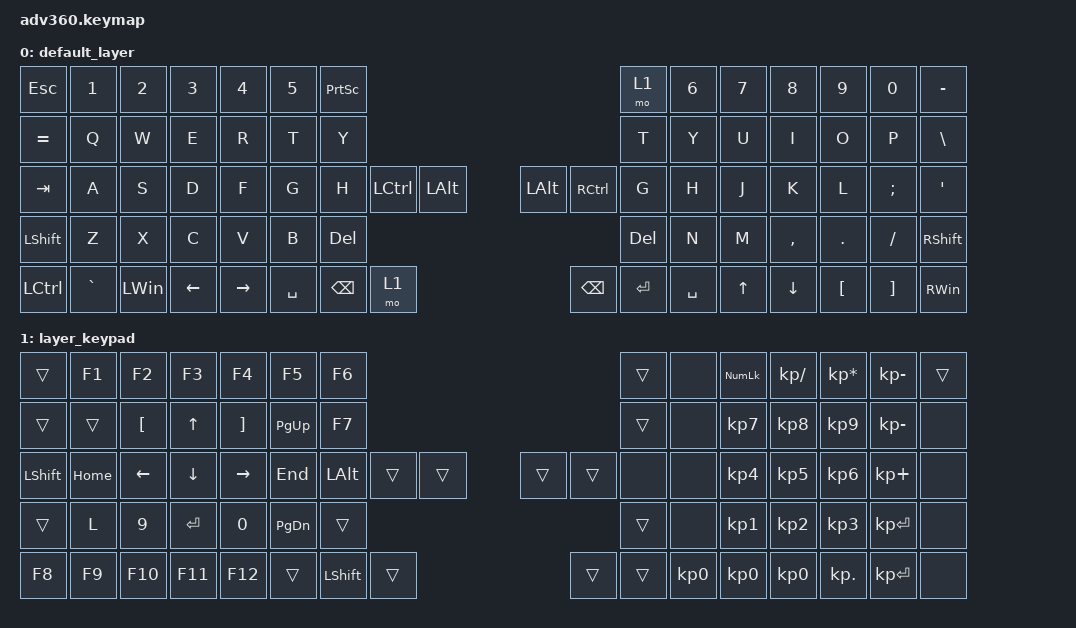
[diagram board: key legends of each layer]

/*
 * Copyright (c) 2020 The ZMK Contributors
 *
 * SPDX-License-Identifier: MIT
 */


/* THIS FILE WAS GENERATED!
 *
 * This file was generated automatically. You may or may not want to
 * edit it directly.
 */

#include <behaviors.dtsi>
#include <dt-bindings/zmk/keys.h>

/ {
  behaviors {
    #include "macros.dtsi"
    #include "version.dtsi"

    hm: homerow_mods {
        compatible = "zmk,behavior-hold-tap";
        label = "HOMEROW_MODS";
        #binding-cells = <2>;
        tapping-term-ms = <200>;
        quick_tap_ms = <175>;
        flavor = "tap-preferred";
        bindings = <&kp>, <&kp>;
    };
  };

    keymap {
        compatible = "zmk,keymap";


        default_layer {
            bindings = <
   &kp ESC     &kp N1    &kp N2    &kp N3     &kp N4  &kp N5            &kp PSCRN                                                                &mo 1  &kp N6  &kp N7     &kp N8    &kp N9    &kp N0  &kp MINUS
 &kp EQUAL      &kp Q     &kp W     &kp E      &kp R   &kp T                &kp Y                                                                &kp T   &kp Y   &kp U      &kp I     &kp O     &kp P   &kp BSLH
   &kp TAB      &kp A     &kp S     &kp D      &kp F   &kp G                &kp H  &kp LCTRL  &kp LALT                  &kp LALT  &kp RCTRL      &kp G   &kp H   &kp J      &kp K     &kp L  &kp SEMI    &kp SQT
 &kp LSHFT      &kp Z     &kp X     &kp C      &kp V   &kp B                                   &kp DEL                   &kp DEL                         &kp N   &kp M  &kp COMMA   &kp DOT  &kp FSLH  &kp RSHFT
 &kp LCTRL  &kp GRAVE  &kp LWIN  &kp LEFT  &kp RIGHT                    &kp SPACE   &kp BSPC     &mo 1                  &kp BSPC  &kp ENTER  &kp SPACE          &kp UP   &kp DOWN  &kp LBKT  &kp RBKT   &kp RWIN
            >;
        };

        layer_keypad {
            bindings = <
         &trans    &kp F1            &kp F2     &kp F3             &kp F4         &kp F5                  &kp F6                                                        &trans   &none  &kp KP_NUM  &kp KP_SLASH  &kp KP_MULTIPLY  &kp KP_MINUS  &trans
         &trans    &trans  &kp LEFT_BRACKET     &kp UP  &kp RIGHT_BRACKET    &kp PAGE_UP                  &kp F7                                                        &trans   &none   &kp KP_N7     &kp KP_N8        &kp KP_N9  &kp KP_MINUS   &none
 &kp LEFT_SHIFT  &kp HOME          &kp LEFT   &kp DOWN          &kp RIGHT        &kp END            &kp LEFT_ALT     &trans  &trans                  &trans  &trans      &none   &none   &kp KP_N4     &kp KP_N5        &kp KP_N6   &kp KP_PLUS   &none
         &trans     &kp L            &kp N9  &kp ENTER             &kp N0  &kp PAGE_DOWN                                     &trans                  &trans                      &none   &kp KP_N1     &kp KP_N2        &kp KP_N3  &kp KP_ENTER   &none
         &kp F8    &kp F9           &kp F10    &kp F11            &kp F12                                 &trans  &kp LSHFT  &trans                  &trans  &trans  &kp KP_N0           &kp KP_N0     &kp KP_N0       &kp KP_DOT  &kp KP_ENTER   &none
            >;
        };

    };
};
